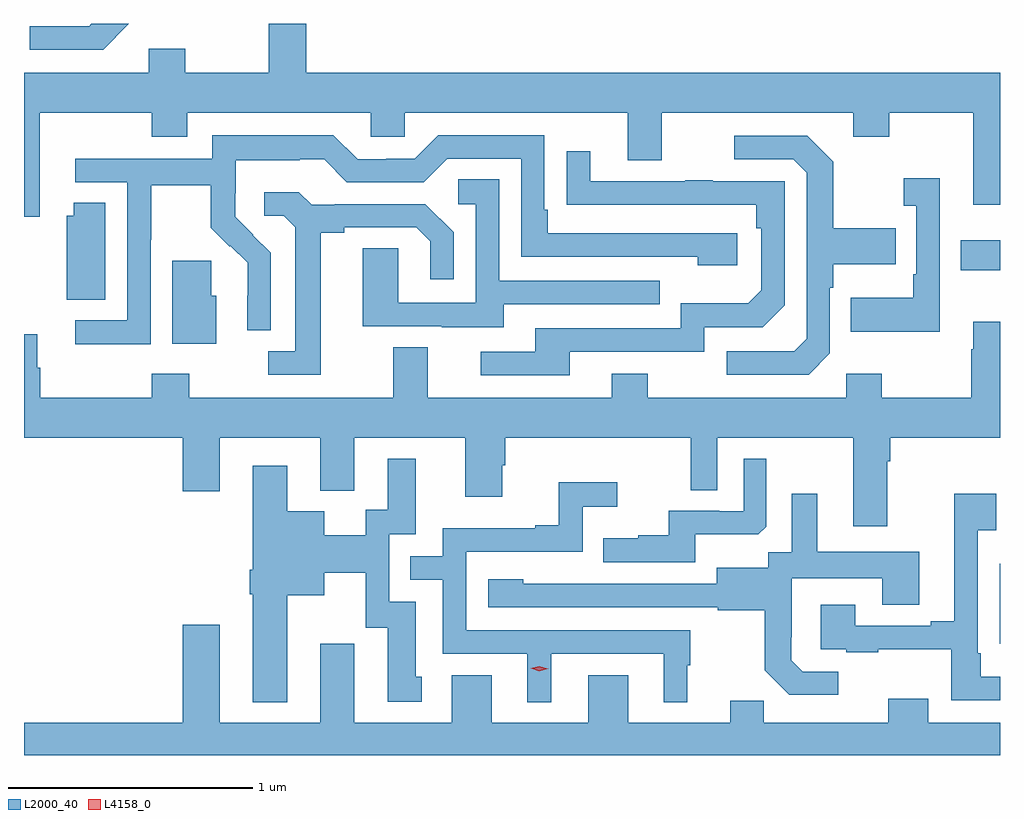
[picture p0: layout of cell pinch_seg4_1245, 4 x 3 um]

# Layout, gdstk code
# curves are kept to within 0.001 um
import gdstk
lib = gdstk.Library(unit=1e-6, precision=1e-09)
def R(c, l, rs):  # rectangles x0, y0, x1, y1
    for r in rs: c.add(gdstk.rectangle(r[:2], r[2:], *l))
def P(c, l, *ps):  # polygons
    for p in ps: c.add(gdstk.Polygon(p, *l))
L2000_40 = (2000, 40)
L4158_0 = (4158, 0)

pinch_seg4_1245 = lib.new_cell('pinch_seg4_1245')
R(pinch_seg4_1245, L2000_40, [(172.266,749.357,172.267,749.683), (172.107,750.887,172.267,751.009)])
P(pinch_seg4_1245, L2000_40, [(168.696,751.896),(168.543,751.896),(168.534,751.887),(168.291,751.887),(168.291,751.791),(168.591,751.791)],
  [(168.331,751.532),(168.79,751.532),(168.79,751.433),(168.937,751.433),(168.937,751.532),(169.689,751.532),(169.689,751.434),(169.827,751.434),(169.827,751.532),(170.741,751.532),(170.741,751.338),(170.881,751.338),(170.881,751.532),(171.665,751.532),(171.665,751.433),(171.813,751.433),(171.813,751.532),(172.157,751.532),(172.157,751.155),(172.267,751.155),(172.267,751.696),(169.424,751.696),(169.424,751.896),(169.271,751.896),(169.271,751.696),(168.927,751.696),(168.927,751.795),(168.779,751.795),(168.779,751.696),(168.267,751.696),(168.267,751.107),(168.331,751.107)],
  [(168.786,751.012),(168.789,751.012),(168.789,751.236),(169.033,751.236),(169.033,751.061),(169.11,750.984),(169.113,750.987),(169.184,750.917),(169.184,750.783),(169.182,750.783),(169.182,750.64),(169.278,750.64),(169.278,750.958),(169.132,751.106),(169.132,751.203),(169.134,751.203),(169.134,751.337),(169.397,751.337),(169.397,751.341),(169.497,751.341),(169.59,751.248),(169.905,751.248),(170.001,751.344),(170.304,751.344),(170.304,750.942),(171.029,750.942),(171.029,750.908),(171.19,750.908),(171.19,751.038),(170.413,751.038),(170.413,751.135),(170.4,751.135),(170.4,751.44),(169.965,751.44),(169.869,751.344),(169.751,751.344),(169.751,751.341),(169.635,751.341),(169.535,751.441),(169.038,751.441),(169.038,751.344),(168.477,751.344),(168.477,751.248),(168.69,751.248),(168.69,750.681),(168.477,750.681),(168.477,750.583),(168.786,750.583)],
  [(171.57,750.546),(171.57,750.815),(171.583,750.815),(171.583,750.911),(171.839,750.911),(171.839,751.059),(171.583,751.059),(171.583,751.331),(171.477,751.437),(171.177,751.437),(171.177,751.341),(171.42,751.341),(171.474,751.287),(171.474,750.606),(171.423,750.555),(171.147,750.555),(171.147,750.459),(171.483,750.459)],
  [(170.503,750.552),(171.054,750.552),(171.054,750.654),(171.294,750.654),(171.384,750.744),(171.384,751.251),(171.089,751.251),(171.089,751.256),(170.977,751.256),(170.977,751.251),(170.587,751.251),(170.587,751.375),(170.491,751.375),(170.491,751.156),(171.268,751.155),(171.268,751.058),(171.288,751.058),(171.288,750.804),(171.235,750.751),(170.958,750.751),(170.958,750.648),(170.363,750.648),(170.363,750.552),(170.139,750.552),(170.139,750.456),(170.503,750.456)],
  [(172.02,751.264),(171.873,751.264),(171.873,751.151),(171.924,751.151),(171.924,750.871),(171.912,750.871),(171.912,750.775),(171.655,750.775),(171.655,750.635),(172.02,750.635)],
  [(170.233,750.747),(170.873,750.747),(170.873,750.843),(170.214,750.843),(170.214,751.259),(170.046,751.259),(170.046,751.158),(170.118,751.158),(170.118,750.753),(169.8,750.753),(169.8,750.977),(169.655,750.977),(169.655,750.657),(169.979,750.657),(169.979,750.653),(170.233,750.653)],
  [(169.483,751.04),(169.579,751.04),(169.579,751.062),(169.874,751.062),(169.931,751.005),(169.931,750.849),(170.028,750.849),(170.028,751.042),(169.912,751.158),(169.54,751.158),(169.54,751.155),(169.446,751.155),(169.394,751.207),(169.251,751.207),(169.251,751.11),(169.332,751.11),(169.379,751.063),(169.379,750.555),(169.269,750.555),(169.269,750.459),(169.483,750.459)],
  [(168.601,751.163),(168.47,751.163),(168.47,751.11),(168.443,751.11),(168.443,750.766),(168.601,750.766)],
  [(169.054,750.783),(169.035,750.783),(169.035,750.925),(168.875,750.925),(168.875,750.585),(169.054,750.585)],
  [(172.267,750.676),(172.157,750.676),(172.157,750.563),(172.15,750.563),(172.15,750.364),(171.783,750.364),(171.783,750.463),(171.636,750.463),(171.636,750.364),(170.823,750.364),(170.823,750.463),(170.675,750.463),(170.675,750.364),(169.921,750.364),(169.921,750.572),(169.781,750.572),(169.781,750.364),(168.945,750.364),(168.945,750.463),(168.79,750.463),(168.79,750.364),(168.334,750.364),(168.334,750.488),(168.322,750.488),(168.322,750.625),(168.267,750.625),(168.267,750.2),(168.917,750.2),(168.917,749.982),(169.069,749.982),(169.069,750.2),(169.481,750.2),(169.481,749.984),(169.621,749.984),(169.621,750.2),(170.075,750.2),(170.075,749.958),(170.227,749.958),(170.227,750.087),(170.24,750.087),(170.24,750.2),(171,750.2),(171,749.986),(171.108,749.986),(171.108,750.2),(171.665,750.2),(171.665,749.838),(171.805,749.838),(171.805,750.104),(171.818,750.104),(171.818,750.2),(172.267,750.2)],
  [(171.019,749.804),(171.277,749.804),(171.309,749.835),(171.309,750.115),(171.216,750.115),(171.216,749.898),(171.116,749.898),(171.116,749.901),(170.909,749.901),(170.909,749.8),(170.785,749.8),(170.785,749.788),(170.641,749.788),(170.641,749.691),(171.019,749.691)],
  [(169.345,749.555),(169.498,749.555),(169.498,749.648),(169.668,749.648),(169.668,749.421),(169.757,749.421),(169.757,749.118),(169.897,749.118),(169.897,749.22),(169.873,749.22),(169.873,749.529),(169.764,749.529),(169.764,749.805),(169.873,749.805),(169.873,750.115),(169.757,750.115),(169.757,749.906),(169.667,749.906),(169.667,749.8),(169.498,749.8),(169.498,749.899),(169.345,749.899),(169.345,750.085),(169.205,750.085),(169.205,749.659),(169.193,749.659),(169.193,749.559),(169.205,749.559),(169.205,749.117),(169.345,749.117)],
  [(170.428,749.316),(170.888,749.316),(170.888,749.117),(170.986,749.117),(170.986,749.268),(170.998,749.268),(170.998,749.412),(170.079,749.412),(170.079,749.733),(170.556,749.733),(170.556,749.918),(170.698,749.918),(170.698,750.017),(170.458,750.017),(170.458,749.842),(170.363,749.842),(170.363,749.829),(169.983,749.829),(169.983,749.715),(169.849,749.715),(169.849,749.619),(169.983,749.619),(169.983,749.316),(170.33,749.316),(170.33,749.117),(170.428,749.117)],
  [(172.267,749.221),(172.189,749.221),(172.189,749.317),(172.176,749.317),(172.176,749.822),(172.252,749.822),(172.252,749.971),(172.079,749.971),(172.079,749.449),(171.983,749.449),(171.983,749.43),(171.673,749.43),(171.673,749.515),(171.533,749.515),(171.533,749.334),(171.637,749.334),(171.637,749.322),(171.769,749.322),(171.769,749.333),(172.068,749.333),(172.068,749.124),(172.267,749.124)],
  [(171.604,749.241),(171.459,749.241),(171.412,749.288),(171.412,749.383),(171.414,749.383),(171.414,749.624),(171.785,749.624),(171.785,749.515),(171.937,749.515),(171.937,749.734),(171.517,749.734),(171.517,749.971),(171.413,749.971),(171.413,749.732),(171.318,749.732),(171.318,749.668),(171.107,749.668),(171.107,749.601),(170.313,749.602),(170.313,749.62),(170.169,749.62),(170.169,749.505),(171.111,749.505),(171.111,749.493),(171.303,749.493),(171.303,749.247),(171.403,749.147),(171.604,749.147)],
  [(172.267,749.032),(171.973,749.032),(171.973,749.131),(171.809,749.131),(171.809,749.032),(171.299,749.032),(171.299,749.123),(171.161,749.123),(171.161,749.032),(170.743,749.032),(170.743,749.227),(170.579,749.227),(170.579,749.032),(170.185,749.032),(170.185,749.227),(170.021,749.227),(170.021,749.032),(169.621,749.032),(169.621,749.356),(169.481,749.356),(169.481,749.032),(169.069,749.032),(169.069,749.434),(168.917,749.434),(168.917,749.032),(168.267,749.032),(168.267,748.9),(172.267,748.9)])
P(pinch_seg4_1245, L4158_0, [(170.379,749.244),(170.344,749.255),(170.344,749.255),(170.344,749.256),(170.379,749.264),(170.414,749.253),(170.415,749.253),(170.414,749.253)])

lib.write_gds('pinch_seg4_1245.gds')
